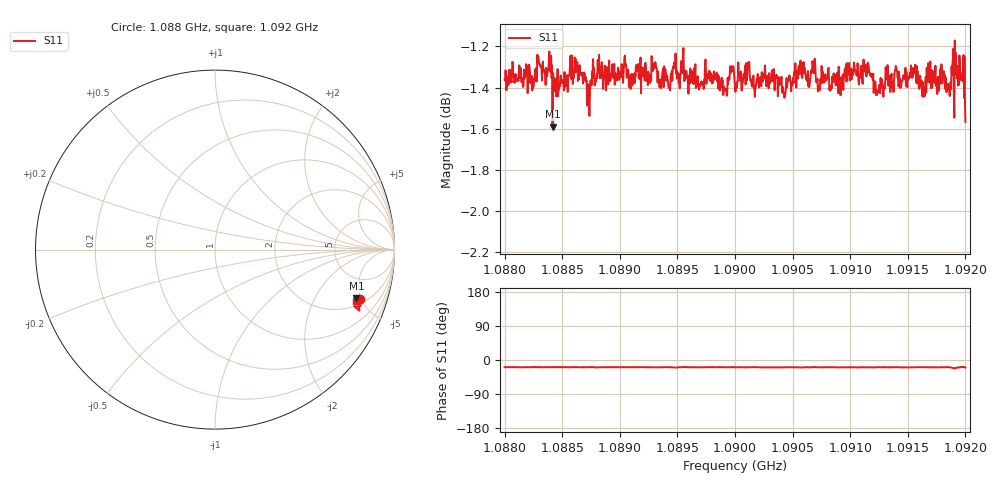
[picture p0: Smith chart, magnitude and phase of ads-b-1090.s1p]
! Calibrated averaged scanner-service zoom
# Hz S RI R 50
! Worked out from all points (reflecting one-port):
!   1001 points, 1.088 GHz to 1.092 GHz, reference 50 ohm
!   lowest |S11| = -1.6 dB at 1.08842 GHz (marker M1), VSWR 10.96, Z = 129 - j228 ohm
!   phase of S11 starts at -19 deg and turns -1 deg over the sweep
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1.088e9  0.809 -0.2763
1.088296e9  0.8174 -0.2808
1.088416e9  0.7873 -0.2711
1.0885e9  0.8077 -0.2796
1.088624e9  0.8146 -0.2753
1.088736e9  0.7926 -0.2712
1.088808e9  0.8139 -0.2911
1.089e9  0.8118 -0.28
1.089304e9  0.8126 -0.2848
1.089428e9  0.8039 -0.2788
1.0895e9  0.8089 -0.2873
1.08956e9  0.8096 -0.2724
1.08968e9  0.806 -0.2788
1.09e9  0.8039 -0.282
1.090092e9  0.8032 -0.2862
1.090172e9  0.8014 -0.2733
1.090368e9  0.8057 -0.2882
1.0905e9  0.8055 -0.2806
1.09058e9  0.8095 -0.2921
1.0907e9  0.8103 -0.2798
1.091e9  0.8114 -0.2832
1.091224e9  0.8004 -0.2788
1.0915e9  0.8041 -0.2901
1.091844e9  0.8049 -0.2737
1.091864e9  0.7995 -0.2799
1.0919e9  0.7867 -0.3181
1.09196e9  0.8096 -0.2741
1.092e9  0.785 -0.2844
